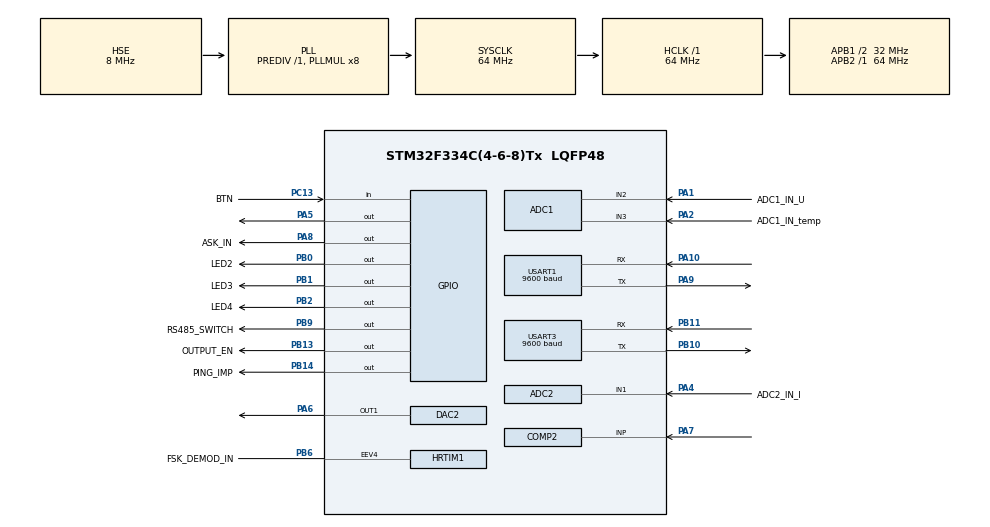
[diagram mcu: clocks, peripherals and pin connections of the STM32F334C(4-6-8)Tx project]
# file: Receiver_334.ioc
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ADC1.Channel-0\#ChannelRegularConversion=ADC_CHANNEL_2
ADC1.Channel-1\#ChannelRegularConversion=ADC_CHANNEL_3
ADC1.ClockPrescaler=ADC_CLOCK_SYNC_PCLK_DIV1
ADC1.Mode=ADC_DUALMODE_REGSIMULT
ADC1.NbrOfConversion=2
ADC1.NbrOfConversionFlag=1
ADC1.Offset-0\#ChannelRegularConversion=0
ADC1.Offset-1\#ChannelRegularConversion=0
ADC1.OffsetNumber-0\#ChannelRegularConversion=ADC_OFFSET_NONE
ADC1.OffsetNumber-1\#ChannelRegularConversion=ADC_OFFSET_NONE
ADC1.Rank-0\#ChannelRegularConversion=1
ADC1.Rank-1\#ChannelRegularConversion=2
ADC1.SamplingTime-0\#ChannelRegularConversion=ADC_SAMPLETIME_7CYCLES_5
ADC1.SamplingTime-1\#ChannelRegularConversion=ADC_SAMPLETIME_7CYCLES_5
ADC1.SamplingTimeOPAMP-1\#ChannelRegularConversion=ADC_SAMPLETIME_61CYCLES_5
ADC1.SubFamily=STM32F334x8
ADC1.master=1
ADC2.Channel-0\#ChannelRegularConversion=ADC_CHANNEL_1
ADC2.ClockPrescaler=ADC_CLOCK_SYNC_PCLK_DIV1
ADC2.Mode=ADC_DUALMODE_REGSIMULT
ADC2.NbrOfConversionFlag=1
ADC2.Offset-0\#ChannelRegularConversion=0
ADC2.OffsetNumber-0\#ChannelRegularConversion=ADC_OFFSET_NONE
ADC2.Rank-0\#ChannelRegularConversion=1
ADC2.SamplingTime-0\#ChannelRegularConversion=ADC_SAMPLETIME_7CYCLES_5
ADC2.SequencerNbRanks=0
ADC2.SubFamily=STM32F334x8
COMP2.InvertingInput=COMP_INVERTINGINPUT_DAC2_CH1
COMP2.TriggerMode=COMP_TRIGGERMODE_IT_RISING
Dma.ADC1.0.Direction=DMA_PERIPH_TO_MEMORY
Dma.ADC1.0.Instance=DMA1_Channel1
Dma.ADC1.0.MemDataAlignment=DMA_MDATAALIGN_WORD
Dma.ADC1.0.MemInc=DMA_MINC_ENABLE
Dma.ADC1.0.Mode=DMA_NORMAL
Dma.ADC1.0.PeriphDataAlignment=DMA_PDATAALIGN_WORD
Dma.ADC1.0.PeriphInc=DMA_PINC_DISABLE
Dma.ADC1.0.Priority=DMA_PRIORITY_LOW
Dma.Request0=ADC1
Dma.Request1=USART1_RX
Dma.Request2=USART3_RX
Dma.USART1_RX.1.Direction=DMA_PERIPH_TO_MEMORY
Dma.USART1_RX.1.Instance=DMA1_Channel5
Dma.USART1_RX.1.MemDataAlignment=DMA_MDATAALIGN_BYTE
Dma.USART1_RX.1.MemInc=DMA_MINC_ENABLE
Dma.USART1_RX.1.Mode=DMA_CIRCULAR
Dma.USART1_RX.1.PeriphDataAlignment=DMA_PDATAALIGN_BYTE
Dma.USART1_RX.1.PeriphInc=DMA_PINC_DISABLE
Dma.USART1_RX.1.Priority=DMA_PRIORITY_LOW
Dma.USART3_RX.2.Direction=DMA_PERIPH_TO_MEMORY
Dma.USART3_RX.2.Instance=DMA1_Channel3
Dma.USART3_RX.2.MemDataAlignment=DMA_MDATAALIGN_BYTE
Dma.USART3_RX.2.MemInc=DMA_MINC_ENABLE
Dma.USART3_RX.2.Mode=DMA_CIRCULAR
Dma.USART3_RX.2.PeriphDataAlignment=DMA_PDATAALIGN_BYTE
Dma.USART3_RX.2.PeriphInc=DMA_PINC_DISABLE
Dma.USART3_RX.2.Priority=DMA_PRIORITY_LOW
HRTIM1.CalibrationRate_nonIT=HRTIM_SINGLE_CALIBRATION
HRTIM1.CaptureUnit1-No_output_TB=HRTIM_CAPTUREUNIT_1
HRTIM1.Event_EEV1=__NULL
HRTIM1.Event_EEV2=__NULL
HRTIM1.Event_EEV3=__NULL
HRTIM1.Event_EEV5=__NULL
HRTIM1.Event_EEV6=__NULL
HRTIM1.InterruptRequests1-No_output_TA=HRTIM_TIM_IT_UPD
HRTIM1.InterruptRequests1-No_output_TB=HRTIM_TIM_IT_REP
HRTIM1.ModeTimeBase-No_output_TB=HRTIM_MODE_CONTINUOUS
HRTIM1.NumberInterruptRequests-No_output_TA=1
HRTIM1.NumberInterruptRequests-No_output_TB=1
HRTIM1.NumberResetTrigger-No_output_TA=1
HRTIM1.NumberResetTrigger-No_output_TB=1
HRTIM1.NumberTriggerSource_Captureconfig1-No_output_TB=1
HRTIM1.NumberUpdateTrigger-No_output_TA=0
HRTIM1.Periode_TA=0x7D00
HRTIM1.PreloadEnable-No_output_TA=HRTIM_PRELOAD_ENABLED
HRTIM1.PrescalerRatio_TA=HRTIM_PRESCALERRATIO_DIV1
HRTIM1.PrescalerRatio_TB=HRTIM_PRESCALERRATIO_MUL32
HRTIM1.RepetitionCounter-No_output_TA=0x00
HRTIM1.RepetitionCounter-No_output_TB=255
HRTIM1.RepetitionUpdate-No_output_TA=HRTIM_UPDATEONREPETITION_ENABLED
HRTIM1.RepetitionUpdate-No_output_TB=HRTIM_UPDATEONREPETITION_ENABLED
HRTIM1.ResetTrigger1-No_output_TA=HRTIM_TIMRESETTRIGGER_UPDATE
HRTIM1.ResetTrigger1-No_output_TB=HRTIM_TIMRESETTRIGGER_EEV_4
HRTIM1.ResetUpdate-No_output_TA=HRTIM_TIMUPDATEONRESET_DISABLED
HRTIM1.Sensitivity_EEV4=HRTIM_EVENTSENSITIVITY_RISINGEDGE
HRTIM1.TriggerCapture1_Source1-No_output_TB=HRTIM_CAPTURETRIGGER_EEV_4
Mcu.Family=STM32F3
Mcu.Name=STM32F334C(4-6-8)Tx
Mcu.Package=LQFP48
NVIC.COMP2_IRQn=true\:0\:0\:false\:false\:true\:false\:true\:true
NVIC.DMA1_Channel1_IRQn=true\:0\:0\:false\:false\:true\:false\:true\:true
NVIC.DMA1_Channel3_IRQn=true\:0\:0\:false\:false\:true\:false\:true\:true
NVIC.DMA1_Channel5_IRQn=true\:0\:0\:false\:false\:true\:false\:true\:true
NVIC.HRTIM1_TIMA_IRQn=true\:0\:0\:false\:false\:true\:true\:true\:true
NVIC.HRTIM1_TIMB_IRQn=true\:0\:0\:false\:false\:true\:true\:true\:true
NVIC.PriorityGroup=NVIC_PRIORITYGROUP_4
NVIC.USART1_IRQn=true\:0\:0\:false\:false\:true\:true\:true\:true
NVIC.USART3_IRQn=true\:0\:0\:false\:false\:true\:true\:true\:true
PA1.GPIO_Label=ADC1_IN_U
PA1.Mode=IN2-Single-Ended
PA1.Signal=ADC1_IN2
PA10.Mode=Asynchronous
PA10.Signal=USART1_RX
PA11.Signal=CAN_RX
PA13.Mode=Serial_Wire
PA13.Signal=SYS_JTMS-SWDIO
PA14.Mode=Serial_Wire
PA14.Signal=SYS_JTCK-SWCLK
PA2.GPIO_Label=ADC1_IN_temp
PA2.Mode=IN3-Single-Ended
PA2.Signal=ADC1_IN3
PA4.GPIO_Label=ADC2_IN_I
PA4.Mode=IN1-Single-Ended
PA4.Signal=ADC2_IN1
PA5.Signal=GPIO_Output
PA6.Signal=COMP_DAC21_group
PA7.Mode=INP
PA7.Signal=COMP2_INP
PA8.GPIO_Label=ASK_IN
PA8.Signal=GPIO_Output
PA9.Mode=Asynchronous
PA9.Signal=USART1_TX
PB0.GPIO_Label=LED2
PB0.Signal=GPIO_Output
PB1.GPIO_Label=LED3
PB1.Signal=GPIO_Output
PB10.Mode=Asynchronous
PB10.Signal=USART3_TX
PB11.Mode=Asynchronous
PB11.Signal=USART3_RX
PB13.GPIO_Label=OUTPUT_EN
PB13.Signal=GPIO_Output
PB14.GPIO_Label=PING_IMP
PB14.Signal=GPIO_Output
PB2.GPIO_Label=LED4
PB2.Signal=GPIO_Output
PB6.GPIO_Label=FSK_DEMOD_IN
PB6.Mode=External_Evt_enable4
PB6.Signal=HRTIM1_EEV4
PB9.GPIO_Label=RS485_SWITCH
PB9.Signal=GPIO_Output
PC13.GPIO_Label=BTN
PC13.Signal=GPIO_Input
PF0\ /\ OSC_IN.Mode=HSE-External-Oscillator
PF0\ /\ OSC_IN.Signal=RCC_OSC_IN
PF1\ /\ OSC_OUT.Mode=HSE-External-Oscillator
PF1\ /\ OSC_OUT.Signal=RCC_OSC_OUT
ProjectManager.HeapSize=0x200
ProjectManager.StackSize=0x400
ProjectManager.TargetToolchain=MDK-ARM V5.32
RCC.AHBFreq_Value=64000000
RCC.APB1CLKDivider=RCC_HCLK_DIV2
RCC.APB1Freq_Value=32000000
RCC.APB1TimFreq_Value=64000000
RCC.APB2Freq_Value=64000000
RCC.APB2TimFreq_Value=64000000
RCC.CortexFreq_Value=64000000
RCC.HCLKFreq_Value=64000000
RCC.HRTIMSelection=RCC_HRTIM1CLK_PLLCLK
RCC.HSE_VALUE=8000000
RCC.HSI_VALUE=8000000
RCC.LSE_VALUE=32768
RCC.PLLMUL=RCC_PLL_MUL8
RCC.PLLSourceVirtual=RCC_PLLSOURCE_HSE
RCC.SYSCLKFreq_VALUE=64000000
SH.COMP_DAC21_group.0=DAC2_OUT1,Switch_Enable_OUT1
USART1.BaudRate=9600
USART1.VirtualMode-Asynchronous=VM_ASYNC
USART3.BaudRate=9600
USART3.VirtualMode-Asynchronous=VM_ASYNC
VP_COMP2_VS_DAC2OUT1.Mode=INM_DAC2OUT1
VP_HRTIM1_VS_hrtimTimerANoOutput.Mode=No_output_TA
VP_HRTIM1_VS_hrtimTimerBNoOutput.Mode=No_output_TB
board=custom

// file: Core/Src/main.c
/* USER CODE BEGIN Header */
/**
  ******************************************************************************
  * @file           : main.c
  * @brief          : Main program body
  ******************************************************************************
  * @attention
  *
  * Copyright (c) 2023 STMicroelectronics.
  * All rights reserved.
  *
  * This software is licensed under terms that can be found in the LICENSE file
  * in the root directory of this software component.
  * If no LICENSE file comes with this software, it is provided AS-IS.
  *
  ******************************************************************************
  */
/* USER CODE END Header */
#include "main.h"
#include "adc.h"
#include "comp.h"
#include "dac.h"
#include "dma.h"
#include "hrtim.h"
#include "usart.h"
#include "gpio.h"

/* USER CODE BEGIN Includes */
#include "stdbool.h"
#include "meas.h"
#include "stdio.h"
#include "string.h"
#include "queue.h"
#include "qi.h"
/* USER CODE END Includes */

/* USER CODE BEGIN PTD */

/*struct ASKMOD_byte{
	bool start_bit;
	unsigned char data;
	bool
};*/
enum BIT_STATES {START_BIT = 0, DATA_BITS = 1, PARITY_BIT = 2, STOP_BIT = 3 };
enum PACKET_STATES {PK_PREAMBLE = 0, PK_HEADER = 1, PK_DATA = 2, PK_CHECKSUM = 3 };
enum OPERATION_STATES { INITIAL_STATE = 1, ANALOG_PING = 2, DIGITAL_PING = 3, COMM_ONLY_STATE = 4, RENEGO_STATE = 5, POWER_TRANSFER_STATE = 6, FAULT_STATE = 7 };
enum DATA_PACKETS {SIG=0x01,EPT=0x02,CE=0x03,NEGO=0x09,DSR=0x15,SRQ=0x20,ADC=0x25,RP=0x31}; // pridat ješte ADT a PROP, mají ruzne oznaceni podle velikosti

/* USER CODE END PTD */

/* USER CODE BEGIN PD */
#define DAC_TRESHOLD  3650
#define TOTAL_AVERAGE 10u
#define LED1 GPIO_PIN_0 //B
#define LED2 GPIO_PIN_1 //B
#define LED3 GPIO_PIN_2 //B
#define PING_IMP GPIO_PIN_14 //B
#define OUTPUT_EN GPIO_PIN_13 //B
#define DBG_MSG_SIZE 1
/* USER CODE END PD */

/* USER CODE BEGIN PV */
volatile bool new_ASK;
bool first_half_ASK;
unsigned int ASK_index;
unsigned int number_of_ms;
volatile bool one_ms;
unsigned char test_byte=0b01010101;
uint32_t hal_tick;
//import z transmitteru
char DBG_UART_buffer[100];
char ADC_BUFFER[100];
uint8_t UART_BUFFER[7];
bool new_dbg_uart_msg;
bool new_uart_msg;
uint8_t MEAS_ACD1_update;
measured_values act_vals;
bool comp_treshold = false;
uint16_t dac_treshold = 2680u; //odpovídá 1,2A
bool run_test = false;
uint8_t Rx_data[1];
unsigned int volatile test_counter=0;
bool ASK_done = false;
bool serialized_data[MAX_DATA_PACKET_SIZE];
uint16_t ASK_size;
bool send_ce;
bool FSK_ready=false;
uint32_t captured_value_FSK;
uint8_t current_state=DIGITAL_PING;
bool FSK_test=false;
bool expecting_answer=false;
bool expecting_ACK=false;
uint32_t reference_value_FSK;
uint16_t FSK_byte_main;
bool response_pattern = false;
uint8_t FSK_error=0;
DecodedDataPacket FSK_packet;
uint8_t rp_interval=0;
uint8_t response_timeout=0;
uint8_t atn_timeout=0;
bool no_mute = true;
bool comm_restored=false;
/* USER CODE END PV */

void SystemClock_Config(void);
/* USER CODE BEGIN PFP */
//void modulateAskByte(bool modulated_ASK_bits[],unsigned char data_byte);
void processDBGUART(void);
int8_t get_control_error(void);
/* USER CODE END PFP */

/* USER CODE BEGIN 0 */
void HAL_UART_RxHalfCpltCallback(UART_HandleTypeDef *huart)
{
 // HAL_GPIO_TogglePin (GPIOB, GPIO_PIN_3);  // toggle PA0
}
void HAL_UART_RxCpltCallback(UART_HandleTypeDef *huart)
{
 if(huart->Instance==USART1)
 {
 HAL_UART_Receive_DMA(&huart1, Rx_data, DBG_MSG_SIZE);
 new_dbg_uart_msg=true;
 }

if(huart->Instance==USART3)
 {
 HAL_UART_Receive_DMA(&huart3, Rx_data, DBG_MSG_SIZE);
 new_uart_msg=true;
 }
}

void HAL_ADC_ConvCpltCallback(ADC_HandleTypeDef* hadc);
void HAL_ADC_ConvHalfCpltCallback(ADC_HandleTypeDef* hadc);

//queue init
//TODO PREDELAT NA 11 bitu
//DataPacket packet1 = { { true, true, true,}, { false, false, true }, { true, false, true, true, false, false, true, true, false }, 3, { false, true } };
//DataPacket packet2 = { { true, true, false }, { false, false, true }, { false, true, false, true, false, true, false, true, false, true, true }, 4, { true, false } };

/* USER CODE END 0 */

int main(void)
{

  /* MCU Configuration--------------------------------------------------------*/

  /* Reset of all peripherals, Initializes the Flash interface and the Systick. */
  HAL_Init();

  /* Configure the system clock */
  SystemClock_Config();

  /* Initialize all configured peripherals */
  MX_GPIO_Init();
  MX_DMA_Init();
  MX_HRTIM1_Init();
  MX_ADC1_Init();
  MX_ADC2_Init();
  MX_DAC2_Init();
  MX_USART1_UART_Init();
  MX_USART3_UART_Init();
  MX_COMP2_Init();
  /* USER CODE BEGIN 2 */
	//DAC
	HAL_DAC_Start(&hdac2, DAC_CHANNEL_1);
	HAL_DAC_SetValue(&hdac2, DAC_CHANNEL_1, DAC_ALIGN_12B_R, dac_treshold);
	/* START HRTIMERS */
	//HAL_HRTIM_WaveformOutputStart(&hhrtim1, HRTIM_OUTPUT_TA1);
	//HAL_HRTIM_WaveformCompareConfig
	//__HAL_HRTIM_SetCompare
	//hal_tick = HAL_GetTick();
	new_ASK = false;
	first_half_ASK = true;
	ASK_index = 0;
	number_of_ms=0;
	one_ms=false;
	//unsigned char test_byte=0b01010101;
	bool button = false;
	new_dbg_uart_msg = false;
	new_uart_msg = false;
	HAL_UART_Receive_DMA (&huart1, Rx_data, DBG_MSG_SIZE);
	HAL_UART_Receive_DMA (&huart3, Rx_data, DBG_MSG_SIZE);
	HAL_ADCEx_Calibration_Start(&hadc1,ADC_SINGLE_ENDED);
	HAL_ADCEx_Calibration_Start(&hadc2,ADC_SINGLE_ENDED);
	HAL_Delay(10);
	MEAS_ADC_start(1,2); // start the ADC conversion
	HAL_COMP_Start_IT(&hcomp2);
	//ASK modulace ---> vsechno odkomentovat az po Start_IT
	//*ASK_byte = modulateAskByte(test_byte);
	//new_ASK=true;
	HAL_HRTIM_WaveformCountStart(&hhrtim1, HRTIM_TIMERID_TIMER_A);
	HAL_HRTIM_WaveformCountStart_IT(&hhrtim1, HRTIM_TIMERID_TIMER_A);

	//pripnuti ping impedance
	HAL_GPIO_WritePin(GPIOB,PING_IMP,GPIO_PIN_SET);
	HAL_Delay(1);
	HAL_GPIO_WritePin(GPIOB,OUTPUT_EN,GPIO_PIN_RESET);
	HAL_GPIO_WritePin(GPIOB,LED3,GPIO_PIN_SET);
	HAL_GPIO_WritePin(GPIOB,LED2,GPIO_PIN_RESET);

	//spusteni timeru pro FSK demodulaci a povoleni preruseni
	HAL_HRTIM_WaveformCountStart(&hhrtim1, HRTIM_TIMERID_TIMER_B);
	HAL_HRTIM_WaveformCountStart_IT(&hhrtim1, HRTIM_TIMERID_TIMER_B);
	//FSK test
	uint32_t FSK_results[11];
	uint8_t FSK_index=0;
	bool FSK_ready_UART=false;
	uint8_t FSK_msg_index=0;
	HAL_GPIO_WritePin(GPIOA,GPIO_PIN_5,GPIO_PIN_SET);
	//load test
	float prev_current;
	bool output_connected=false;
	uint8_t error_code=0;
	bool power_transfer=false;
	uint8_t user_data_example=0;
	bool alow_sig=true;
	bool ping_imp_connected=true;
	uint8_t digital_ping_increment=0;
	bool calm_before_ping=false;
	uint8_t error_type=0;
	uint8_t response=0;
	bool power_transfer_acknowledged=false;
	bool shutting_down=false;
	bool user_data_input=false;
	uint8_t status_msg_interval=0;
	uint16_t output_current;
	uint16_t output_voltage;

	//uint8_t digital_ping_counter=0;
	//ASK test
  DataPacket packet;
  DataPacket CEpacket;
  packet.message_length = 1;
  CEpacket.message_length = 1;
  for (int i = 0; i < PREAMBLE_LENGTH; i++) {
	packet.preamble[i] = true;
	CEpacket.preamble[i]=true;
  }
	/*modulateAskByte(packet.header, 0x48); //test
	modulateAskByte(packet.message[0], 0b10101010); //test value
	modulateAskByte(packet.message[1], 0b10101010); //test value
	modulateAskByte(packet.message[2], 0b10101010); //test value
	modulateAskByte(packet.message[3], 0b10101010); //test value
	modulateAskByte(packet.checksum,calculateCheckSum(packet));
	serialize_data_packet(packet,serialized_data);*/
	ASK_size=get_data_packet_size(packet);
	int8_t ce=0;

	//ASK
	Queue ASK_queue;
	DataPacket dequeued_packet;
	queue_init(&ASK_queue);

	//komunikace s raketou
	UART_BUFFER[0]=0xff;
  /* USER CODE END 2 */

  /* Infinite loop */
  while (1)
  {

    /* USER CODE BEGIN 3 */
		if (FSK_ready){
			//HAL_GPIO_TogglePin(GPIOA,GPIO_PIN_5);
			//FSK_results[FSK_index]=captured_value_FSK;
			if (FSK_error==0){
				if (!response_pattern){
					FSK_msg_index++;
				error_type=demodulateFskByte(FSK_byte_main,&FSK_packet,FSK_msg_index);
				if (error_type==0){
					if (FSK_msg_index==1){
						sprintf(ADC_BUFFER,"H:%u\r\n",FSK_packet.header);
					} else if (FSK_msg_index==2){
						sprintf(ADC_BUFFER,"M:%u\r\n",FSK_packet.message[0]);
					} else if (FSK_msg_index==3){
						sprintf(ADC_BUFFER,"User data received %c. Sending ACK.\r\n",FSK_packet.message[0]);
						modulateAskByte(packet.header, 0x15); //DSR
						modulateAskByte(packet.message[0], 0xFF); //ack potvrzeni o prijeti
						modulateAskByte(packet.checksum,calculateCheckSum(packet));
						if (queue_enqueue(&ASK_queue, packet)){
						} else{
							sprintf(ADC_BUFFER,"QUEUE FULL\r\n");
						}

						rp_interval=0;
					}
				} else{
					sprintf(ADC_BUFFER,"err:%u MSG:%u. Sending NAK.\r\n",error_type,FSK_byte_main);
					modulateAskByte(packet.header, 0x15); //DSR
					modulateAskByte(packet.message[0], 0x00); //nak potvrzeni o neprijeti
					modulateAskByte(packet.checksum,calculateCheckSum(packet));
					if (queue_enqueue(&ASK_queue, packet)){
					} else{
						sprintf(ADC_BUFFER,"QUEUE FULL\r\n");
					}

					rp_interval=0;
				}
				} else{
					response = (uint8_t)(FSK_byte_main & 0xFF);
					switch (response){
						case 0b11111111: //ack
							if (current_state==COMM_ONLY_STATE&&power_transfer&&error_code==0){
								power_transfer_acknowledged=true;
								response_timeout=0;
								expecting_ACK=false;
								sprintf(ADC_BUFFER,"ACK received. CS->PT\r\n");
							} else if (expecting_ACK){
								response_timeout=0;
								sprintf(ADC_BUFFER,"ACK received.\r\n");
								expecting_ACK=false;
							} else{
								if (no_mute){sprintf(ADC_BUFFER,"ACK received as a response for RP.\r\n");
								}else{sprintf(ADC_BUFFER,"");}
								if (!comm_restored&&current_state==COMM_ONLY_STATE){
									sprintf(ADC_BUFFER,"Communication restored.\r\n");
									comm_restored=true;
								};

							}
							break;
						case 0b01010101: //nak
							if (current_state==COMM_ONLY_STATE&&power_transfer){
								power_transfer_acknowledged=false;
							}
							break;
						case 0b10101010: //nd
							break;
						case 0b11001100: //atn --- chce neco poslat
							modulateAskByte(packet.header, 0x15); //DSR
							modulateAskByte(packet.message[0], 0x33); //poll = pozvani, at posila
							modulateAskByte(packet.checksum,calculateCheckSum(packet));
							if (queue_enqueue(&ASK_queue, packet)){
								sprintf(ADC_BUFFER,"ATN: Inviting Transm.\r\n");
									FSK_msg_index=0;
									expecting_answer=true;
									response_pattern=false;

							} else{
								sprintf(ADC_BUFFER,"QUEUE FULL\r\n");
							}
							response_pattern=false;
							rp_interval=0;
							break;
						default:
							sprintf(ADC_BUFFER,"NR. R:%u,B%u.\r\n",response,FSK_byte_main);
							break;
					}
					if (response!=0b11111111 && expecting_ACK){
						if (queue_enqueue(&ASK_queue, packet)){
							sprintf(ADC_BUFFER,"No ACK. Adding DP to queue again. \r\n");
							response_timeout=0;
							expecting_answer=true;
							expecting_ACK=true;
							response_pattern=true;
						} else{
							sprintf(ADC_BUFFER,"QUEUE FULL\r\n");
						}

					}
					FSK_test=false;
				}
			HAL_UART_Transmit_IT(&huart1, (uint8_t *)ADC_BUFFER, strlen(ADC_BUFFER));
			}
			else{
				//sprintf(ADC_BUFFER,".\r\n");
				FSK_msg_index=0;
				FSK_error=0;
				//FSK_test=false;
				}
			if (FSK_msg_index==3){
					//whole msg sent
					FSK_msg_index=0;
					FSK_test=false;
				}
			/*if (FSK_index>=10){
				sprintf(DBG_UART_buffer,"%u\r\n%u\r\n%u\r\n%u\r\n%u\r\n%u\r\n%u\r\n%u\r\n%u\r\n%u\r\n%u\r\n\r\n",FSK_results[0],FSK_results[1],FSK_results[2],FSK_results[3],FSK_results[4],FSK_results[5],FSK_results[6],FSK_results[7],FSK_results[8],FSK_results[9],FSK_results[10]);
				HAL_UART_Transmit_IT(&huart1, (uint8_t *)DBG_UART_buffer, strlen(DBG_UART_buffer));
				//FSK_ready_UART=false;
				//HAL_Delay(1);
				FSK_test=false;
				FSK_index=0;
				//FSK_ready_UART=true;
			}else{
				FSK_index++;
			}*/
			FSK_ready=false;
		}
		if (ASK_done){
			ASK_done=false;
			/*TADY TO ODKOMENTOVAT KDyžtak
			if(expecting_answer){
				//reference_value_FSK=HAL_HRTIM_GetCapturedValue(&hhrtim1,HRTIM_TIMERINDEX_TIMER_B,HRTIM_CAPTUREUNIT_1);
				expecting_answer=false;
				FSK_test=true;
			}
			*///TADY TO ODKOMENTOVAT KDyžtak
			HAL_Delay(1);
			HAL_GPIO_WritePin(GPIOA,GPIO_PIN_8,0); //aby to nezustalo takhle vysoko to napeti, viz str14 comms_physical
		}
		if (one_ms){
			button = !HAL_GPIO_ReadPin(GPIOC,GPIO_PIN_13);
			if (button){
			}
			if (current_state==COMM_ONLY_STATE&&number_of_ms==0){
				if (power_transfer&&error_code==0){
					modulateAskByte(packet.header, 0x20); //SRQ
					modulateAskByte(packet.message[0], 0x00); //en
					modulateAskByte(packet.checksum,calculateCheckSum(packet));
					for (int i=0;i<3;i++){
							queue_enqueue(&ASK_queue, packet);
						}
					//queue_enqueue(&ASK_queue, packet);
					//serialize_data_packet(packet,serialized_data);
					//error_code=0;
					sprintf(ADC_BUFFER,"SRQ enqueued. Waiting for Transmitter for ACK.\r\n");
					expecting_answer=true;
					response_pattern=true;
					response_timeout=0;
					expecting_ACK=true;
					//power_transfer_acknowledged=true;
					HAL_UART_Transmit_IT(&huart1, (uint8_t *)ADC_BUFFER, strlen(ADC_BUFFER));
					new_ASK=true;
					//number_of_ms=0;
					}
				}
			if ((number_of_ms%MEAS_INTERVAL)==0){
				while (!MEAS_ACD1_update){}
				MEAS_ACD1_update=0;
				if (current_state==DIGITAL_PING&&alow_sig){
					if (act_vals.voltage>28&&((calm_before_ping&&digital_ping_increment==0)||digital_ping_increment>0)){
						digital_ping_increment++;
						calm_before_ping=false;
					}else{
						digital_ping_increment=0;
						calm_before_ping=true;
					}
					if (digital_ping_increment>5){
						//digital_ping_increment=true;
						ce = get_control_error();
						modulateAskByte(packet.header, 0x01); //SIG
						modulateAskByte(packet.message[0], ce); //test value
						modulateAskByte(packet.checksum,calculateCheckSum(packet));
						serialize_data_packet(packet,serialized_data);
						ASK_size=get_data_packet_size(packet);
						new_ASK=true;
						current_state=COMM_ONLY_STATE;
						number_of_ms=0;
						comm_restored=false;
						//sprintf(ADC_BUFFER,"Comm. ready.\r\n");
						//HAL_UART_Transmit_IT(&huart1, (uint8_t *)ADC_BUFFER, strlen(ADC_BUFFER));
						digital_ping_increment=0;
					}
				}
				if (act_vals.current-prev_current<-1.0&&output_connected){//LOAD DISCONNECTED //0.5 puvodne
					error_code=0x01;
					current_state=FAULT_STATE;
				}
				if (current_state == POWER_TRANSFER_STATE && act_vals.current < 0.001){ //battery is charged
						send_ce=false;
						power_transfer=false;
						power_transfer_acknowledged=false;
						modulateAskByte(packet.header, 0x02); //EPT
						modulateAskByte(packet.message[0], 0x01); //CC = charging complete
						modulateAskByte(packet.checksum,calculateCheckSum(packet));
						if (queue_enqueue(&ASK_queue, packet)){
							sprintf(DBG_UART_buffer,"EPT/cc - battery charged.\r\n");
						} else{
							sprintf(DBG_UART_buffer,"QUEUE FULL\r\n");
						}
				}
				prev_current=act_vals.current;

				if (current_state==COMM_ONLY_STATE || current_state==POWER_TRANSFER_STATE){ //if TRANSMITTER terminates the power signal
					if (act_vals.voltage<25.){ //!shutting_down&&
						error_code=0x02; //transmitter disconnected the power signal --- user defined
						current_state=FAULT_STATE;
						//alow_sig=false;
					}
					if (act_vals.voltage>39){//OVERVOLTAGE
						error_code=0x03;
						current_state=FAULT_STATE;
					}
				}
				if (act_vals.current>=1.33){ //nad 40 W
					error_code=0x04; //over current
					current_state=FAULT_STATE;
				}
				if (error_code!=0&&current_state==FAULT_STATE){

					HAL_GPIO_WritePin(GPIOB,PING_IMP,GPIO_PIN_SET);
					HAL_Delay(1);
					HAL_GPIO_WritePin(GPIOB,OUTPUT_EN,GPIO_PIN_RESET);
					ping_imp_connected=true;
					output_connected=false;
					alow_sig=true;
					send_ce=false;
					power_transfer=false;
					power_transfer_acknowledged=false;
					sprintf(DBG_UART_buffer,"ERROR detected:%u\r\n",error_code);
					HAL_UART_Transmit_IT(&huart1, (uint8_t *)DBG_UART_buffer, strlen(DBG_UART_buffer));
					if (error_code==0x02){
						HAL_Delay(300);
						sprintf(DBG_UART_buffer,"Switching back to DP. Resolve the error!\r\n");
						HAL_UART_Transmit_IT(&huart1, (uint8_t *)DBG_UART_buffer, strlen(DBG_UART_buffer));
					}else{
						//current_state=FAULT_STATE;
						modulateAskByte(packet.header, 0x02); //EPT
						modulateAskByte(packet.message[0], error_code);
						modulateAskByte(packet.checksum,calculateCheckSum(packet));
						if (queue_enqueue(&ASK_queue, packet)){
							sprintf(DBG_UART_buffer,"EPT sent. Switching back to DP. Resolve the error!\r\n");
						} else{
							sprintf(DBG_UART_buffer,"QUEUE FULL\r\n");
						}
						HAL_UART_Transmit_IT(&huart1, (uint8_t *)DBG_UART_buffer, strlen(DBG_UART_buffer));
					}
					current_state=DIGITAL_PING; //to restore the comm.

				}
				MEAS_ADC_start(20,1);
			}
			if (number_of_ms==150){
				if (expecting_ACK&&(current_state==COMM_ONLY_STATE||current_state==POWER_TRANSFER_STATE))response_timeout++;
				if (response_timeout>3){
						if (queue_enqueue(&ASK_queue, packet)){
							sprintf(ADC_BUFFER,"ACK timeout. Adding DP to queue again. \r\n");
							response_timeout=0;
							expecting_answer=true;
							expecting_ACK=true;
							response_pattern=true;
						} else{
							sprintf(ADC_BUFFER,"QUEUE FULL\r\n");
						}
				}
				else if (queue_dequeue(&ASK_queue,&dequeued_packet)){
						serialize_data_packet(dequeued_packet,serialized_data);
						ASK_size=get_data_packet_size(dequeued_packet);
						new_ASK=true;
						atn_timeout++;
						if (expecting_answer){
							//sample_freq=true;
							//HAL_GPIO_TogglePin(GPIOA,GPIO_PIN_5);
							response_timeout=0;
							expecting_answer=false; // nebo navázat z tohohle
							//HAL_Delay(1);
							reference_value_FSK=HAL_HRTIM_GetCapturedValue(&hhrtim1,HRTIM_TIMERINDEX_TIMER_B,HRTIM_CAPTUREUNIT_1);
							FSK_test=true;
						}
						//ocekava FSK zpravu

						//sprintf(ADC_BUFFER,"Data sent.\r\n");
						//HAL_UART_Transmit_IT(&huart1, (uint8_t *)ADC_BUFFER, strlen(ADC_BUFFER));
					}
				if (current_state==COMM_ONLY_STATE){
					if (power_transfer&&power_transfer_acknowledged){ //&&power_transfer_acknowledged
						send_ce=true;
						output_connected=true;
						ping_imp_connected=false;
						current_state=POWER_TRANSFER_STATE;
						HAL_GPIO_WritePin(GPIOB,OUTPUT_EN,GPIO_PIN_SET);
						HAL_Delay(1);
						HAL_GPIO_WritePin(GPIOB,PING_IMP,GPIO_PIN_RESET);
						sprintf(ADC_BUFFER,"CS->PT\r\n");
						HAL_UART_Transmit_IT(&huart1, (uint8_t *)ADC_BUFFER, strlen(ADC_BUFFER));
					}
				}
			}
			if (number_of_ms>=250){

				if (error_code!=0&&power_transfer){
					sprintf(ADC_BUFFER,"Resolve the error: %u before restoring PT.\r\n",error_code);
					HAL_UART_Transmit_IT(&huart1, (uint8_t *)ADC_BUFFER, strlen(ADC_BUFFER));
				}
				/*if (run_test){
					sprintf(ADC_BUFFER,"I:%fA\r\nU:%fV\r\nP:%fW\r\n\r\n",act_vals.current,act_vals.voltage,act_vals.power);
				}*/
				//HAL_GPIO_TogglePin(GPIOB,LED3);
				if (send_ce){
					ce = get_control_error();
					modulateAskByte(CEpacket.header, 0x03);
					modulateAskByte(CEpacket.message[0], ce); //test value
					modulateAskByte(CEpacket.checksum,calculateCheckSum(packet));
					serialize_data_packet(CEpacket,serialized_data);
					ASK_size=get_data_packet_size(CEpacket);
					//if (run_test)sprintf(ADC_BUFFER,"I:%fA\r\nU:%fV\r\nP:%fW\r\nCE:%d\r\n",act_vals.current,act_vals.voltage,act_vals.power,ce);
					new_ASK=true;
					//send_ce=false;
				}
				if (current_state==POWER_TRANSFER_STATE && !send_ce){
						output_connected=false;
						ping_imp_connected=true;
						shutting_down=false;
						if (alow_sig){
							current_state=COMM_ONLY_STATE;
							sprintf(ADC_BUFFER,"PT->CS\r\n");
						}else{
							current_state=DIGITAL_PING;
							sprintf(ADC_BUFFER,"PT->DP\r\n");
						}
						HAL_GPIO_WritePin(GPIOB,PING_IMP,GPIO_PIN_SET);
						HAL_Delay(1);
						HAL_GPIO_WritePin(GPIOB,OUTPUT_EN,GPIO_PIN_RESET);
						HAL_UART_Transmit_IT(&huart1, (uint8_t *)ADC_BUFFER, strlen(ADC_BUFFER));
				}
				number_of_ms=0;
				status_msg_interval++;
				if (status_msg_interval>=4){
					status_msg_interval=0;
					//poslat status
					/*
					UART_BUFFER[1]=0x01;
					UART_BUFFER[2]=0x02;
					UART_BUFFER[3]=0x03;
					UART_BUFFER[4]=0x04;
					UART_BUFFER[5]=0x05;
					UART_BUFFER[6]=0x06;
					*/
					UART_BUFFER[1]=error_code;
					UART_BUFFER[2]=current_state;
					// Break down output_current and output_voltage into two uint8_t bytes each
					output_current=(uint16_t) (act_vals.current*1000);
					output_voltage=(uint16_t) (act_vals.voltage*1000);
					UART_BUFFER[3] = (uint8_t)(output_current & 0xFF);
					// Low byte of output_current
					UART_BUFFER[4] = (uint8_t)((output_current >> 8) & 0xFF);    // High byte of output_current
					UART_BUFFER[5] = (uint8_t)(output_voltage & 0xFF);           // Low byte of output_voltage
					UART_BUFFER[6] = (uint8_t)((output_voltage >> 8) & 0xFF);    // High byte of output_voltage
					if (UART_BUFFER[3]==0xff){UART_BUFFER[3]=0xfe;}
					if (UART_BUFFER[4]==0xff){UART_BUFFER[4]=0xfe;}
					if (UART_BUFFER[5]==0xff){UART_BUFFER[5]=0xfe;}
					if (UART_BUFFER[6]==0xff){UART_BUFFER[6]=0xfe;}

					HAL_UART_Transmit_IT(&huart3, (uint8_t *)UART_BUFFER, 7); //zkontrolovat
				}
				//if (run_test || send_ce){
				if (current_state==POWER_TRANSFER_STATE||current_state==COMM_ONLY_STATE){
					if (rp_interval%2&&run_test){
							sprintf(ADC_BUFFER,"I:%fA\r\nU:%fV\r\nP:%fW\r\nCE:%d\r\n",act_vals.current,act_vals.voltage,act_vals.power,ce);
							HAL_UART_Transmit_IT(&huart1, (uint8_t *)ADC_BUFFER, strlen(ADC_BUFFER));
					}
					rp_interval++;
					if (rp_interval>3&&!expecting_ACK){
						modulateAskByte(packet.header, 0x04); // RP8
						modulateAskByte(packet.message[0], (uint8_t)(128*(35./act_vals.power))); //received power
						modulateAskByte(packet.checksum,calculateCheckSum(packet));
						if (queue_enqueue(&ASK_queue, packet)){
							//if (!run_test)sprintf(ADC_BUFFER,"RP enqued\r\n");
							//HAL_UART_Transmit_IT(&huart1, (uint8_t *)ADC_BUFFER, strlen(ADC_BUFFER));
						} else{
							sprintf(ADC_BUFFER,"QUEUE FULL\r\n");
							HAL_UART_Transmit_IT(&huart1, (uint8_t *)ADC_BUFFER, strlen(ADC_BUFFER));
						}
						expecting_answer=true;
						response_pattern=true;
						rp_interval=0;
						}
				}

			}
			one_ms=false;
			number_of_ms++;
			if (new_dbg_uart_msg||new_uart_msg){
				new_dbg_uart_msg=false;
				new_uart_msg=false;
				if (user_data_input){
						modulateAskByte(packet.header, 0x18); //PROP
						modulateAskByte(packet.message[0], Rx_data[0]);
						modulateAskByte(packet.checksum,calculateCheckSum(packet));
						if (queue_enqueue(&ASK_queue, packet)){
							sprintf(DBG_UART_buffer,"\r\nUser data enqued: %c\r\n",Rx_data[0]);
							user_data_example++;
							expecting_answer=true;
							expecting_ACK=true;
							response_pattern=true;
						} else{
							sprintf(DBG_UART_buffer,"QUEUE FULL\r\n");
						}
						user_data_input=false;
				} else{
					switch (Rx_data[0])
					{
						case 'l':
							HAL_GPIO_TogglePin(GPIOB,LED2);
							sprintf(DBG_UART_buffer,"LED3 Toggled!\r\n\r\n");
							break;
						case 'v':
							sprintf(DBG_UART_buffer,"current: %f A\r\nVoltage: %f V\r\n\r\n",act_vals.current,act_vals.voltage);
							break;
						case 'i':
							sprintf(DBG_UART_buffer,"I am RECEIVER\r\n\r\n");
							HAL_Delay(1);
							break;
						case 't':
							run_test=!run_test;
							MEAS_ADC_start(10,1);
							if (run_test){
								sprintf(DBG_UART_buffer,"Test started. Sending data:\r\n\r\n");
								}
							else{
								sprintf(DBG_UART_buffer,"End of test.\r\n\r\n");
								}
							break;
						case 'P':
							sprintf(DBG_UART_buffer,"SRQ/en\r\n");
							HAL_Delay(1);
							power_transfer=true;
							number_of_ms=0;
							break;
						case 'p':
							send_ce=false;
							power_transfer=false;
							power_transfer_acknowledged=false;
							modulateAskByte(packet.header, 0x02); //EPT
							modulateAskByte(packet.message[0], 0x01); //CC = charging complete
							modulateAskByte(packet.checksum,calculateCheckSum(packet));
							for (int i=0;i<3;i++){
								queue_enqueue(&ASK_queue, packet);
							}
							sprintf(DBG_UART_buffer,"EPT/cc\r\n");
							HAL_Delay(1);
							break;
						case 'q':
							sprintf(DBG_UART_buffer,"ENTER user data: ");
							user_data_input=true;
							break;
						case 'e':
							if (error_code != 0){
								sprintf(DBG_UART_buffer,"Fault %u resolved.\r\n",error_code);
								//current_state=DIGITAL_PING;
								error_code=0;
							} else{
								sprintf(DBG_UART_buffer,"No fault to be resolved.\r\n");
							}
							break;
						case 's':
							sprintf(DBG_UART_buffer,"Error:%u\r\nCurrent state:%u\r\nPing imp:%u\r\nOutput:%u\r\n",error_code,current_state,ping_imp_connected,output_connected);
							break;
						case 'o':
							//use to turn the power signal completely off. Restore with 1
							modulateAskByte(packet.header, 0x02); //EPT
							modulateAskByte(packet.message[0], 0x0C); //reping
							modulateAskByte(packet.checksum,calculateCheckSum(packet));
							if (queue_enqueue(&ASK_queue, packet)){
								sprintf(DBG_UART_buffer,"PS over.\r\n");
							} else{
								sprintf(DBG_UART_buffer,"QUEUE FULL\r\n");
							}
							alow_sig=false;
							send_ce=false;
							power_transfer=false;
							power_transfer_acknowledged=false;
							shutting_down=true;
							current_state=DIGITAL_PING;
							HAL_GPIO_WritePin(GPIOB,PING_IMP,GPIO_PIN_SET);
							HAL_Delay(1);
							HAL_GPIO_WritePin(GPIOB,OUTPUT_EN,GPIO_PIN_RESET);
							break;
						case 'a':
							sprintf(DBG_UART_buffer,"SIG allowed.\r\n");
							alow_sig=true;
							break;
						case 'A':
							sprintf(DBG_UART_buffer,"SIG not allowed.\r\n");
							alow_sig=false;
							break;
						case 'm':
							no_mute=!no_mute;
							sprintf(DBG_UART_buffer,"MSGs (un)muted!\r\n");
							break;
						default:
							sprintf(DBG_UART_buffer,"Invalid char!\r\n\r\n");
							break;

					}
				}
				HAL_UART_Transmit_IT(&huart1, (uint8_t *)DBG_UART_buffer, strlen(DBG_UART_buffer));
			}
		}
  }
  /* USER CODE END 3 */
}

void SystemClock_Config(void)
{
  RCC_OscInitTypeDef RCC_OscInitStruct = {0};
  RCC_ClkInitTypeDef RCC_ClkInitStruct = {0};
  RCC_PeriphCLKInitTypeDef PeriphClkInit = {0};

  /** Initializes the RCC Oscillators according to the specified parameters
  * in the RCC_OscInitTypeDef structure.
  */
  RCC_OscInitStruct.OscillatorType = RCC_OSCILLATORTYPE_HSE;
  RCC_OscInitStruct.HSEState = RCC_HSE_ON;
  RCC_OscInitStruct.HSEPredivValue = RCC_HSE_PREDIV_DIV1;
  RCC_OscInitStruct.HSIState = RCC_HSI_ON;
  RCC_OscInitStruct.PLL.PLLState = RCC_PLL_ON;
  RCC_OscInitStruct.PLL.PLLSource = RCC_PLLSOURCE_HSE;
  RCC_OscInitStruct.PLL.PLLMUL = RCC_PLL_MUL8;
  if (HAL_RCC_OscConfig(&RCC_OscInitStruct) != HAL_OK)
  {
    Error_Handler();
  }

  /** Initializes the CPU, AHB and APB buses clocks
  */
  RCC_ClkInitStruct.ClockType = RCC_CLOCKTYPE_HCLK|RCC_CLOCKTYPE_SYSCLK
                              |RCC_CLOCKTYPE_PCLK1|RCC_CLOCKTYPE_PCLK2;
  RCC_ClkInitStruct.SYSCLKSource = RCC_SYSCLKSOURCE_PLLCLK;
  RCC_ClkInitStruct.AHBCLKDivider = RCC_SYSCLK_DIV1;
  RCC_ClkInitStruct.APB1CLKDivider = RCC_HCLK_DIV2;
  RCC_ClkInitStruct.APB2CLKDivider = RCC_HCLK_DIV1;

  if (HAL_RCC_ClockConfig(&RCC_ClkInitStruct, FLASH_LATENCY_2) != HAL_OK)
  {
    Error_Handler();
  }
  PeriphClkInit.PeriphClockSelection = RCC_PERIPHCLK_HRTIM1|RCC_PERIPHCLK_USART1;
  PeriphClkInit.Usart1ClockSelection = RCC_USART1CLKSOURCE_PCLK1;
  PeriphClkInit.Hrtim1ClockSelection = RCC_HRTIM1CLK_PLLCLK;
  if (HAL_RCCEx_PeriphCLKConfig(&PeriphClkInit) != HAL_OK)
  {
    Error_Handler();
  }
}

/* USER CODE BEGIN 4 */
void HAL_ADC_ConvCpltCallback(ADC_HandleTypeDef* hadc) {
   if(hadc) MEAS_ADC1_eval(1);
}

void HAL_ADC_ConvHalfCpltCallback(ADC_HandleTypeDef* hadc) {
   if(hadc) MEAS_ADC1_eval(0);
}

int8_t get_control_error(void){
	float control_error = 29.8; //target voltage on output;
	control_error -= act_vals.voltage;
	control_error /= 10.0; //upravit rozsah aby rozliseni bylo 50 mV
	control_error *=127.; //128 by melo bejt
	if (control_error>127)control_error=127;
	else if (control_error<-128)control_error=-128;
	return (int8_t) control_error;
}
/* USER CODE END 4 */

void Error_Handler(void)
{
  __disable_irq();
  while (1)
  {
  }
}
